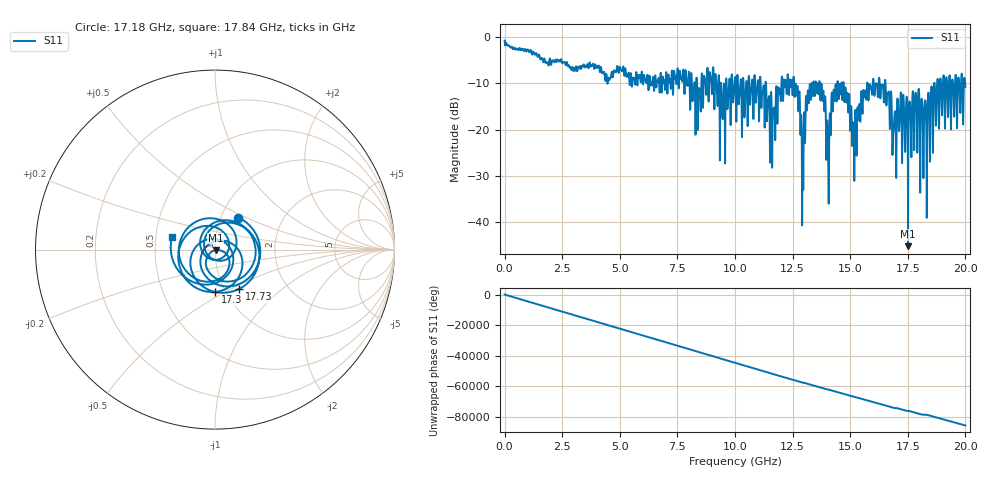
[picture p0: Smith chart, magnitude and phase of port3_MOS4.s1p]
! MS46122B
! 2250307/22442219
! 6/18/2025 1:24:55 PM
! C:\USERS\SPARKY\DOCUMENTS\VNA_DATA\JUNE18_2025\295K\PORT3_MOS4.S1P
! CHANNEL.1
! TR.MEASUREMENT
! RAW.DATA
# GHZ S RI R 50.0
! FREQ.GHZ  S11RE  S11IM
!; PortSelection: Port_1
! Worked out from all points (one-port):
!   10001 points, 1 MHz to 20 GHz, reference 50 ohm
!   lowest |S11| = -45.2 dB at 17.51 GHz (marker M1), VSWR 1.01, Z = 50.5 - j0.276 ohm
!   |S11| at or under -10 dB: 13.68 GHz to 14.44 GHz (762.3 MHz wide, 5.42 % of centre); 14.72 GHz to 15.73 GHz (1.018 GHz wide, 6.69 % of centre); 16.53 GHz to 18.65 GHz (2.112 GHz wide, 12 % of centre) (the widest 3 of 78)
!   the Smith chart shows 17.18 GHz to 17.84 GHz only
!   S11 on the Smith chart (normalised r, x): 17.18 GHz: 1.20, +0.45; 17.3 GHz: 0.90, -0.45; 17.73 GHz: 1.17, -0.55; 17.84 GHz: 0.61, +0.09
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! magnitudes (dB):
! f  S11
! 1 MHz  -1.0
! 2.501 GHz  -5.7
! 5.001 GHz  -6.4
! 7.501 GHz  -6.9
! 10 GHz  -8.7
! 11.16 GHz  -13.1
! 11.67 GHz  -16.6
! 12.5 GHz  -12.6
! 12.94 GHz  -24.7
! 13.16 GHz  -11.5
! 13.42 GHz  -9.5
! 13.83 GHz  -11.5
! 14.05 GHz  -28.8
! 14.37 GHz  -10.3
! 15 GHz  -20.2
! 15.18 GHz  -27.0
! 16.18 GHz  -11.6
! 16.59 GHz  -13.0
! 16.91 GHz  -17.6
! 17.18 GHz  -13.1
! 17.3 GHz  -12.6
! 17.5 GHz  -23.7
! 17.51 GHz  -45.2
! 17.73 GHz  -11.8
! 17.84 GHz  -12.1
! 18.25 GHz  -13.6
! 18.72 GHz  -19.1
! 20 GHz  -10.7
